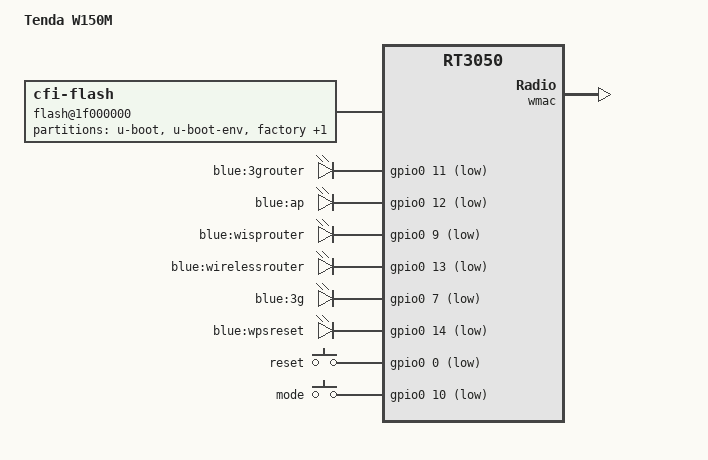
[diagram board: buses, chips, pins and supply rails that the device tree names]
#include "rt3050.dtsi"

#include <dt-bindings/gpio/gpio.h>
#include <dt-bindings/input/input.h>

/ {
	compatible = "tenda,w150m", "ralink,rt3050-soc";
	model = "Tenda W150M";

	aliases {
		led-boot = &led_ap;
		led-failsafe = &led_ap;
		led-running = &led_ap;
		led-upgrade = &led_ap;
	};

	flash@1f000000 {
		compatible = "cfi-flash";
		reg = <0x1f000000 0x800000>;
		bank-width = <2>;
		device-width = <2>;

		partitions {
			compatible = "fixed-partitions";
			#address-cells = <1>;
			#size-cells = <1>;

			partition@0 {
				label = "u-boot";
				reg = <0x0 0x30000>;
				read-only;
			};

			partition@30000 {
				label = "u-boot-env";
				reg = <0x30000 0x10000>;
				read-only;
			};

			factory: partition@40000 {
				label = "factory";
				reg = <0x40000 0x10000>;
				read-only;
			};

			partition@50000 {
				compatible = "denx,uimage";
				label = "firmware";
				reg = <0x50000 0x3b0000>;
			};
		};
	};

	leds {
		compatible = "gpio-leds";

		3grouter {
			label = "blue:3grouter";
			gpios = <&gpio0 11 GPIO_ACTIVE_LOW>;
		};

		led_ap: ap {
			label = "blue:ap";
			gpios = <&gpio0 12 GPIO_ACTIVE_LOW>;
		};

		wisprouter {
			label = "blue:wisprouter";
			gpios = <&gpio0 9 GPIO_ACTIVE_LOW>;
		};

		wirelessrouter {
			label = "blue:wirelessrouter";
			gpios = <&gpio0 13 GPIO_ACTIVE_LOW>;
		};

		3g {
			label = "blue:3g";
			gpios = <&gpio0 7 GPIO_ACTIVE_LOW>;
		};

		wpsreset {
			label = "blue:wpsreset";
			gpios = <&gpio0 14 GPIO_ACTIVE_LOW>;
		};
	};

	keys {
		compatible = "gpio-keys-polled";
		poll-interval = <20>;

		reset {
			label = "reset";
			gpios = <&gpio0 0 GPIO_ACTIVE_LOW>;
			linux,code = <KEY_RESTART>;
		};

		mode {
			label = "mode";
			gpios = <&gpio0 10 GPIO_ACTIVE_LOW>;
			linux,code = <BTN_0>;
		};
	};
};

&state_default {
	gpio {
		groups = "spi", "i2c", "jtag", "rgmii", "mdio", "uartf";
		function = "gpio";
	};
};

&ethernet {
	nvmem-cells = <&macaddr_factory_4>;
	nvmem-cell-names = "mac-address";
};

&esw {
	mediatek,portmap = <0x2f>;
};

&wmac {
	ralink,mtd-eeprom = <&factory 0x0>;
};

&factory {
	compatible = "nvmem-cells";
	#address-cells = <1>;
	#size-cells = <1>;

	macaddr_factory_4: macaddr@4 {
		reg = <0x4 0x6>;
	};
};
